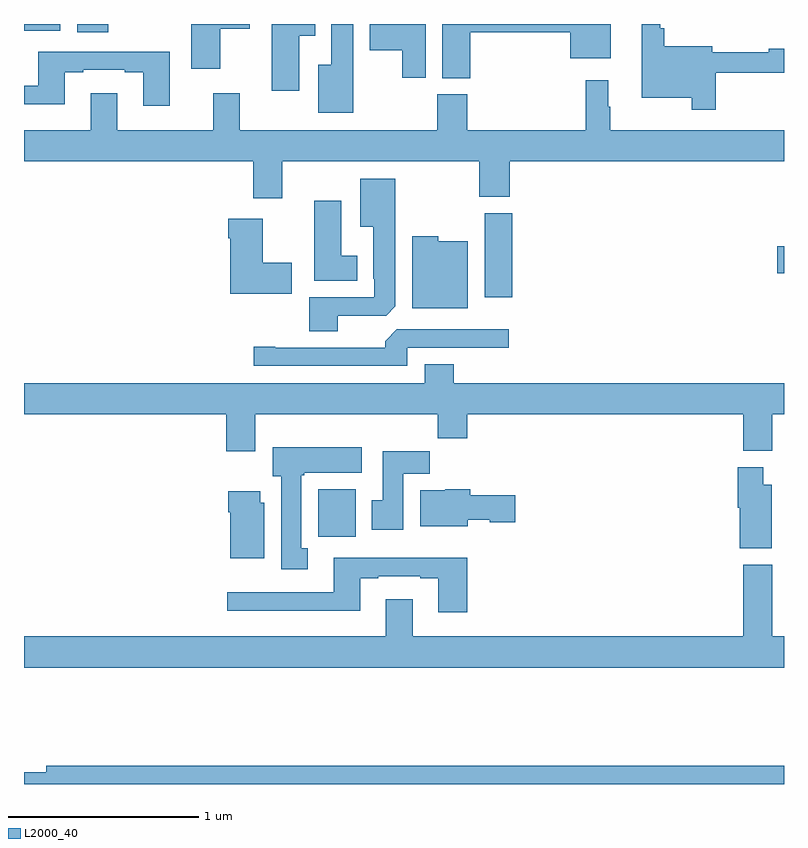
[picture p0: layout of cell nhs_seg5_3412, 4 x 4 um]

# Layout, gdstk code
import gdstk
lib = gdstk.Library(unit=1e-6, precision=1e-09)
def R(c, l, rs):  # rectangles x0, y0, x1, y1
    for r in rs: c.add(gdstk.rectangle(r[:2], r[2:], *l))
def P(c, l, *ps):  # polygons
    for p in ps: c.add(gdstk.Polygon(p, *l))
L2000_40 = (2000, 40)

nhs_seg5_3412 = lib.new_cell('nhs_seg5_3412')
R(nhs_seg5_3412, L2000_40, [(312.549,872.1,312.745,872.35), (313.424,873.36,313.571,873.804), (314.964,873.488,315,873.63), (311.279,874.755,311.443,874.799), (311,874.764,311.191,874.799)])
P(nhs_seg5_3412, L2000_40, [(312.448,874.736),(312.532,874.736),(312.532,874.799),(312.305,874.799),(312.305,874.449),(312.448,874.449)],
  [(313.349,874.756),(313.874,874.756),(313.874,874.619),(314.089,874.619),(314.089,874.799),(313.202,874.799),(313.202,874.513),(313.349,874.513)],
  [(313.114,874.799),(312.821,874.799),(312.821,874.661),(312.992,874.661),(312.992,874.515),(313.114,874.515)],
  [(312.034,874.774),(312.187,874.774),(312.187,874.799),(311.879,874.799),(311.879,874.563),(312.034,874.563)],
  [(312.733,874.799),(312.617,874.799),(312.617,874.585),(312.548,874.585),(312.548,874.331),(312.733,874.331)],
  [(314.642,874.542),(315,874.542),(315,874.67),(314.919,874.67),(314.919,874.651),(314.623,874.651),(314.623,874.681),(314.369,874.681),(314.369,874.777),(314.349,874.777),(314.349,874.799),(314.252,874.799),(314.252,874.412),(314.514,874.412),(314.514,874.347),(314.642,874.347)],
  [(311.767,874.654),(311.539,874.654),(311.539,874.653),(311.075,874.653),(311.075,874.473),(311,874.473),(311,874.376),(311.215,874.376),(311.215,874.545),(311.311,874.545),(311.311,874.557),(311.531,874.557),(311.531,874.545),(311.627,874.545),(311.627,874.368),(311.767,874.368)],
  [(312.358,874.076),(313.396,874.076),(313.396,873.889),(313.556,873.889),(313.556,874.076),(315,874.076),(315,874.24),(314.086,874.24),(314.086,874.364),(314.074,874.364),(314.074,874.504),(313.957,874.504),(313.957,874.24),(313.334,874.24),(313.334,874.428),(313.174,874.428),(313.174,874.24),(312.136,874.24),(312.136,874.435),(311.996,874.435),(311.996,874.24),(311.491,874.24),(311.491,874.435),(311.351,874.435),(311.351,874.24),(311,874.24),(311,874.076),(312.206,874.076),(312.206,873.882),(312.358,873.882)],
  [(312.652,873.264),(312.906,873.264),(312.955,873.313),(312.955,873.985),(312.77,873.985),(312.77,873.731),(312.839,873.731),(312.839,873.457),(312.843,873.457),(312.843,873.36),(312.5,873.36),(312.5,873.181),(312.652,873.181)],
  [(312.754,873.58),(312.67,873.58),(312.67,873.868),(312.527,873.868),(312.527,873.449),(312.754,873.449)],
  [(312.409,873.543),(312.256,873.543),(312.256,873.775),(312.074,873.775),(312.074,873.671),(312.086,873.671),(312.086,873.38),(312.409,873.38)],
  [(313.336,873.655),(313.179,873.655),(313.179,873.682),(313.043,873.682),(313.043,873.302),(313.336,873.302)],
  [(313.017,873.096),(313.552,873.096),(313.552,873.192),(312.963,873.192),(312.902,873.13),(312.902,873.096),(312.322,873.096),(312.322,873.101),(312.21,873.101),(312.21,873),(313.017,873)],
  [(313.262,873.007),(313.109,873.007),(313.109,872.908),(311,872.908),(311,872.744),(312.065,872.744),(312.065,872.55),(312.217,872.55),(312.217,872.744),(313.177,872.744),(313.177,872.62),(313.334,872.62),(313.334,872.744),(314.786,872.744),(314.786,872.552),(314.938,872.552),(314.938,872.744),(315,872.744),(315,872.908),(313.262,872.908)],
  [(312.493,872.041),(312.46,872.041),(312.46,872.425),(312.474,872.425),(312.474,872.438),(312.778,872.438),(312.778,872.572),(312.308,872.572),(312.308,872.418),(312.353,872.418),(312.353,871.929),(312.493,871.929)],
  [(312.997,872.432),(313.136,872.432),(313.136,872.551),(312.887,872.551),(312.887,872.292),(312.83,872.292),(312.83,872.136),(312.997,872.136)],
  [(314.935,872.374),(314.89,872.374),(314.89,872.467),(314.756,872.467),(314.756,872.253),(314.768,872.253),(314.768,872.039),(314.935,872.039)],
  [(313.336,872.189),(313.452,872.189),(313.452,872.177),(313.585,872.177),(313.585,872.319),(313.349,872.319),(313.349,872.35),(313.218,872.35),(313.218,872.344),(313.085,872.344),(313.085,872.156),(313.336,872.156)],
  [(312.265,872.28),(312.244,872.28),(312.244,872.341),(312.074,872.341),(312.074,872.228),(312.086,872.228),(312.086,871.988),(312.265,871.988)],
  [(313.334,871.99),(312.629,871.99),(312.629,871.809),(312.069,871.809),(312.069,871.712),(312.769,871.712),(312.769,871.881),(312.865,871.881),(312.865,871.893),(313.085,871.893),(313.085,871.881),(313.181,871.881),(313.181,871.704),(313.334,871.704)],
  [(315,871.576),(314.938,871.576),(314.938,871.954),(314.786,871.954),(314.786,871.576),(313.045,871.576),(313.045,871.771),(312.905,871.771),(312.905,871.576),(311,871.576),(311,871.412),(315,871.412)],
  [(315,870.896),(311.117,870.896),(311.117,870.86),(311,870.86),(311,870.799),(315,870.799)])

lib.write_gds('nhs_seg5_3412.gds')
